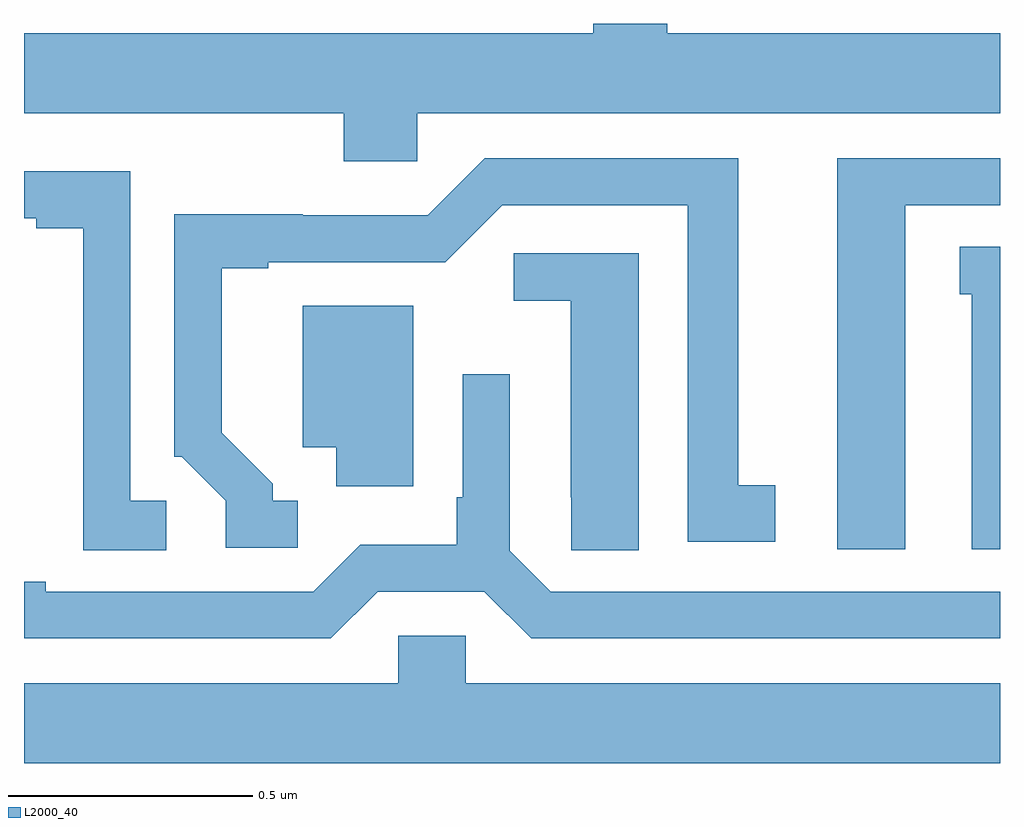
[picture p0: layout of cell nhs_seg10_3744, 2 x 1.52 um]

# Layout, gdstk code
import gdstk
lib = gdstk.Library(unit=1e-6, precision=1e-09)
def P(c, l, *ps):  # polygons
    for p in ps: c.add(gdstk.Polygon(p, *l))
L2000_40 = (2000, 40)

nhs_seg10_3744 = lib.new_cell('nhs_seg10_3744')
P(nhs_seg10_3744, L2000_40, [(157.806,1300.316),(159,1300.316),(159,1300.48),(158.318,1300.48),(158.318,1300.5),(158.166,1300.5),(158.166,1300.48),(157,1300.48),(157,1300.316),(157.655,1300.316),(157.655,1300.218),(157.806,1300.218)],
  [(157.561,1299.522),(157.51,1299.522),(157.51,1299.557),(157.405,1299.662),(157.405,1299.999),(157.501,1299.999),(157.501,1300.011),(157.863,1300.011),(157.98,1300.128),(158.36,1300.128),(158.36,1299.438),(158.539,1299.438),(158.539,1299.554),(158.464,1299.554),(158.464,1300.224),(157.944,1300.224),(157.827,1300.107),(157.571,1300.107),(157.571,1300.109),(157.308,1300.109),(157.308,1299.612),(157.323,1299.612),(157.413,1299.522),(157.413,1299.426),(157.561,1299.426)],
  [(158.806,1300.128),(159,1300.128),(159,1300.224),(158.666,1300.224),(158.666,1299.423),(158.806,1299.423)],
  [(157.291,1299.522),(157.218,1299.522),(157.218,1300.197),(157,1300.197),(157,1300.101),(157.025,1300.101),(157.025,1300.081),(157.121,1300.081),(157.121,1299.421),(157.291,1299.421)],
  [(159,1300.043),(158.918,1300.043),(158.918,1299.945),(158.942,1299.945),(158.942,1299.423),(159,1299.423)],
  [(158.26,1300.029),(158.004,1300.029),(158.004,1299.932),(158.12,1299.932),(158.12,1299.529),(158.121,1299.529),(158.121,1299.421),(158.26,1299.421)],
  [(157.798,1299.922),(157.571,1299.922),(157.571,1299.632),(157.64,1299.632),(157.64,1299.552),(157.798,1299.552)],
  [(157.725,1299.336),(157.943,1299.336),(158.039,1299.24),(159,1299.24),(159,1299.336),(158.079,1299.336),(157.995,1299.42),(157.995,1299.781),(157.899,1299.781),(157.899,1299.529),(157.887,1299.529),(157.887,1299.432),(157.689,1299.432),(157.593,1299.336),(157.045,1299.336),(157.045,1299.356),(157,1299.356),(157,1299.24),(157.629,1299.24)],
  [(159,1299.148),(157.905,1299.148),(157.905,1299.246),(157.767,1299.246),(157.767,1299.148),(157,1299.148),(157,1298.984),(159,1298.984)])

lib.write_gds('nhs_seg10_3744.gds')
